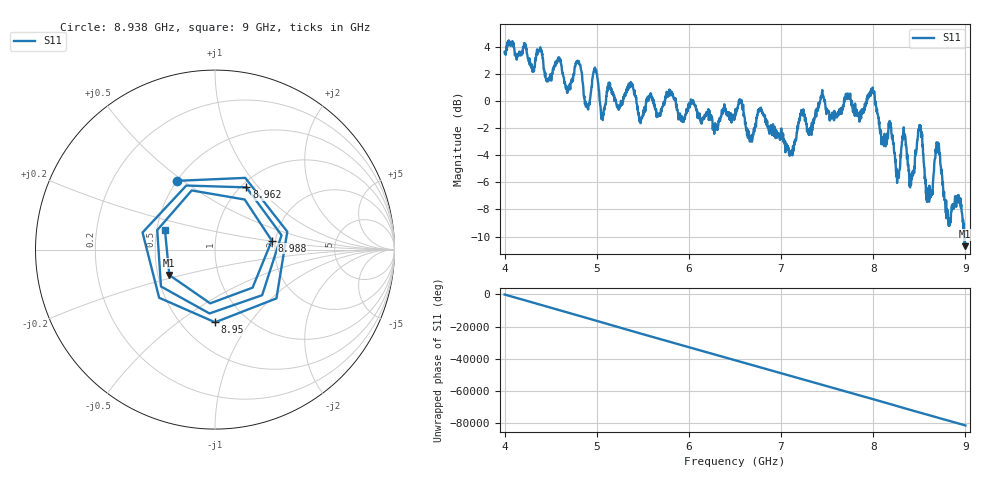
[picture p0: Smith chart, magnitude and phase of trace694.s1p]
! Created with skrf 1.8.0 (http://scikit-rf.org).
# Hz S RI R 50.0
!freq ReS11 ImS11
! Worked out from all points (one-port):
!   1601 points, 4 GHz to 9 GHz, reference 50 ohm
!   lowest |S11| = -10.7 dB at 8.997 GHz (marker M1), VSWR 1.82, Z = 28.7 - j8.88 ohm
!   |S11| at or under -10 dB: 8.988537 GHz to end of sweep
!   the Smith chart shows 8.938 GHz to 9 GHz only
!   S11 on the Smith chart (normalised r, x): 8.938 GHz: 0.50, +0.48; 8.95 GHz: 0.72, -0.70; 8.962 GHz: 1.06, +0.87; 8.988 GHz: 1.91, +0.21; 9 GHz: 0.55, +0.13
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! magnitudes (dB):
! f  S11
! 4 GHz  3.6
! 4.625 GHz  2.2
! 5.25 GHz  -0.4
! 5.369 GHz  1.4
! 5.475 GHz  -1.6
! 5.875 GHz  -0.6
! 6.5 GHz  -1.1
! 7.125 GHz  -3.7
! 7.231 GHz  -0.9
! 7.306 GHz  -2.4
! 7.75 GHz  0.6
! 7.991 GHz  0.7
! 8.109 GHz  -3.0
! 8.191 GHz  -2.0
! 8.262 GHz  -5.2
! 8.331 GHz  -1.9
! 8.375 GHz  -4.8
! 8.419 GHz  -5.7
! 8.506 GHz  -1.8
! 8.597 GHz  -6.9
! 8.7 GHz  -3.1
! 8.812 GHz  -8.5
! 8.938 GHz  -7.2
! 8.95 GHz  -7.9
! 8.962 GHz  -8.2
! 8.988 GHz  -9.9
! 8.997 GHz  -10.7
! 9 GHz  -10.5
